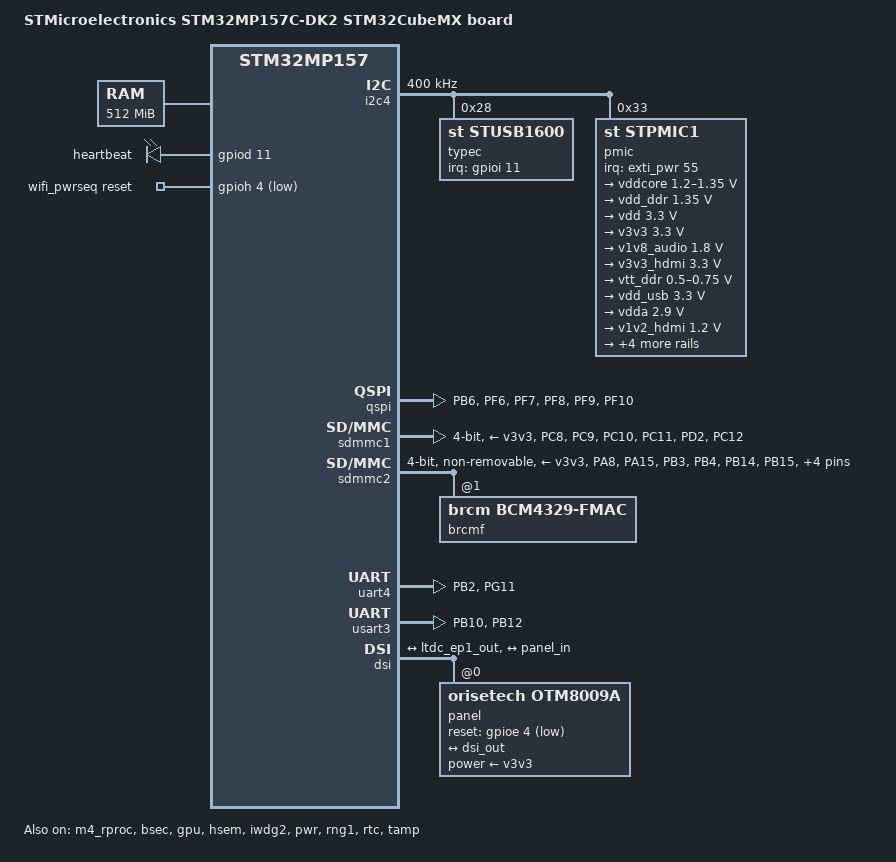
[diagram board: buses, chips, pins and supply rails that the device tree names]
/* SPDX-License-Identifier: (GPL-2.0+ OR BSD-3-Clause) */
/*
 * Copyright (C) STMicroelectronics 2020 - All Rights Reserved
 * Author: STM32CubeMX code generation for STMicroelectronics.
 */

/* For more information on Device Tree configuration, please refer to
 * https://wiki.st.com/stm32mpu/wiki/Category:Device_tree_configuration
 */

/dts-v1/;
#include "stm32mp157c.dtsi"
#include "stm32mp157cac-pinctrl.dtsi"
#include "stm32mp157c-m4-srm.dtsi"

/* USER CODE BEGIN includes */
#include <dt-bindings/input/input.h>
#include <dt-bindings/mfd/st,stpmic1.h>
#include <dt-bindings/rtc/rtc-stm32.h>
/* USER CODE END includes */

/ {
	model = "STMicroelectronics STM32MP157C-DK2 STM32CubeMX board";
	compatible = "st,stm32mp157c-osd32mp1-mx", "st,stm32mp157";

	memory@c0000000 {
		reg = <0xc0000000 0x20000000>;

		/* USER CODE BEGIN memory */
		/* USER CODE END memory */
	};

	reserved-memory {
		#address-cells = <1>;
		#size-cells = <1>;
		ranges;

		/* USER CODE BEGIN reserved-memory */

		retram: retram@0x38000000 {
			compatible = "shared-dma-pool";
			reg = <0x38000000 0x10000>;
			no-map;
		};

		mcuram: mcuram@0x30000000 {
			compatible = "shared-dma-pool";
			reg = <0x30000000 0x40000>;
			no-map;
		};

		mcuram2: mcuram2@0x10000000 {
			compatible = "shared-dma-pool";
			reg = <0x10000000 0x40000>;
			no-map;
		};

		vdev0vring0: vdev0vring0@10040000 {
			compatible = "shared-dma-pool";
			reg = <0x10040000 0x2000>;
			no-map;
		};

		vdev0vring1: vdev0vring1@10042000 {
			compatible = "shared-dma-pool";
			reg = <0x10042000 0x2000>;
			no-map;
		};

		vdev0buffer: vdev0buffer@10044000 {
			compatible = "shared-dma-pool";
			reg = <0x10044000 0x4000>;
			no-map;
		};
		/* USER CODE END reserved-memory */

		gpu_reserved: gpu@d4000000 {
			reg = <0xd4000000 0x4000000>;
			no-map;
		};
	};

	/* USER CODE BEGIN root */
	aliases {
		ethernet0 = &ethernet0;
		serial0 = &uart4;
		serial1 = &usart3;
		serial2 = &uart7;
		serial3 = &usart2;
	};

	chosen {
		stdout-path = "serial0:115200n8";
	};

	sram: sram@10050000 {
		compatible = "mmio-sram";
		reg = <0x10050000 0x10000>;
		#address-cells = <1>;
		#size-cells = <1>;
		ranges = <0 0x10050000 0x10000>;

		dma_pool: dma_pool@0 {
			reg = <0x0 0x10000>;
			pool;
		};
	};

	led {
		compatible = "gpio-leds";
		blue {
			label = "heartbeat";
			gpios = <&gpiod 11 GPIO_ACTIVE_HIGH>;
			linux,default-trigger = "heartbeat";
			default-state = "off";
		};
	};

	sound {
		compatible = "audio-graph-card";
		label = "STM32MP1-DK";
		routing =
			"Playback" , "MCLK",
			"Capture" , "MCLK",
			"MICL" , "Mic Bias";
		dais = <&sai2a_port &sai2b_port &i2s2_port>;
		status = "okay";
	};

	usb_phy_tuning: usb-phy-tuning {
		st,hs-dc-level = <2>;
		st,fs-rftime-tuning;
		st,hs-rftime-reduction;
		st,hs-current-trim = <15>;
		st,hs-impedance-trim = <1>;
		st,squelch-level = <3>;
		st,hs-rx-offset = <2>;
		st,no-lsfs-sc;
	};

	wifi_pwrseq: wifi-pwrseq {
		compatible = "mmc-pwrseq-simple";
		reset-gpios = <&gpioh 4 GPIO_ACTIVE_LOW>;
	};
	/* USER CODE END root */

	clocks {
		/* USER CODE BEGIN clocks */
		/* USER CODE END clocks */

		clk_lsi: clk-lsi {
			clock-frequency = <32000>;
		};

		clk_hsi: clk-hsi {
			clock-frequency = <64000000>;
		};

		clk_csi: clk-csi {
			clock-frequency = <4000000>;
		};

		clk_lse: clk-lse {
			clock-frequency = <32768>;
		};

		clk_hse: clk-hse {
			clock-frequency = <24000000>;
		};
	};

}; /*root*/

&pinctrl {
	u-boot,dm-pre-reloc;

	quadspi_pins_mx: quadspi_mx-0 {
		u-boot,dm-pre-reloc;
		pins1 {
			u-boot,dm-pre-reloc;
			pinmux = <STM32_PINMUX('B', 6, AF10)>, /* QUADSPI_BK1_NCS */
					 <STM32_PINMUX('F', 6, AF9)>, /* QUADSPI_BK1_IO3 */
					 <STM32_PINMUX('F', 7, AF9)>, /* QUADSPI_BK1_IO2 */
					 <STM32_PINMUX('F', 8, AF10)>, /* QUADSPI_BK1_IO0 */
					 <STM32_PINMUX('F', 9, AF10)>; /* QUADSPI_BK1_IO1 */
			bias-disable;
			drive-push-pull;
			slew-rate = <1>;
		};
		pins2 {
			u-boot,dm-pre-reloc;
			pinmux = <STM32_PINMUX('F', 10, AF9)>; /* QUADSPI_CLK */
			bias-disable;
			drive-push-pull;
			slew-rate = <2>;
		};
	};

	quadspi_sleep_pins_mx: quadspi_sleep_mx-0 {
		u-boot,dm-pre-reloc;
		pins {
			u-boot,dm-pre-reloc;
			pinmux = <STM32_PINMUX('B', 6, ANALOG)>, /* QUADSPI_BK1_NCS */
					 <STM32_PINMUX('F', 6, ANALOG)>, /* QUADSPI_BK1_IO3 */
					 <STM32_PINMUX('F', 7, ANALOG)>, /* QUADSPI_BK1_IO2 */
					 <STM32_PINMUX('F', 8, ANALOG)>, /* QUADSPI_BK1_IO0 */
					 <STM32_PINMUX('F', 9, ANALOG)>, /* QUADSPI_BK1_IO1 */
					 <STM32_PINMUX('F', 10, ANALOG)>; /* QUADSPI_CLK */
		};
	};

	sdmmc1_pins_mx: sdmmc1_mx-0 {
		u-boot,dm-pre-reloc;
		pins1 {
			u-boot,dm-pre-reloc;
			pinmux = <STM32_PINMUX('C', 8, AF12)>, /* SDMMC1_D0 */
					 <STM32_PINMUX('C', 9, AF12)>, /* SDMMC1_D1 */
					 <STM32_PINMUX('C', 10, AF12)>, /* SDMMC1_D2 */
					 <STM32_PINMUX('C', 11, AF12)>, /* SDMMC1_D3 */
					 <STM32_PINMUX('D', 2, AF12)>; /* SDMMC1_CMD */
			bias-disable;
			drive-push-pull;
			slew-rate = <1>;
		};
		pins2 {
			u-boot,dm-pre-reloc;
			pinmux = <STM32_PINMUX('C', 12, AF12)>; /* SDMMC1_CK */
			bias-disable;
			drive-push-pull;
			slew-rate = <3>;
		};
	};

	sdmmc1_opendrain_pins_mx: sdmmc1_opendrain_mx-0 {
		u-boot,dm-pre-reloc;
		pins1 {
			u-boot,dm-pre-reloc;
			pinmux = <STM32_PINMUX('C', 8, AF12)>, /* SDMMC1_D0 */
					 <STM32_PINMUX('C', 9, AF12)>, /* SDMMC1_D1 */
					 <STM32_PINMUX('C', 10, AF12)>, /* SDMMC1_D2 */
					 <STM32_PINMUX('C', 11, AF12)>; /* SDMMC1_D3 */
			bias-disable;
			drive-push-pull;
			slew-rate = <1>;
		};
		pins2 {
			u-boot,dm-pre-reloc;
			pinmux = <STM32_PINMUX('C', 12, AF12)>; /* SDMMC1_CK */
			bias-disable;
			drive-push-pull;
			slew-rate = <3>;
		};
		pins3 {
			u-boot,dm-pre-reloc;
			pinmux = <STM32_PINMUX('D', 2, AF12)>; /* SDMMC1_CMD */
			bias-disable;
			drive-open-drain;
			slew-rate = <1>;
		};
	};

	sdmmc1_sleep_pins_mx: sdmmc1_sleep_mx-0 {
		u-boot,dm-pre-reloc;
		pins {
			u-boot,dm-pre-reloc;
			pinmux = <STM32_PINMUX('C', 8, ANALOG)>, /* SDMMC1_D0 */
					 <STM32_PINMUX('C', 9, ANALOG)>, /* SDMMC1_D1 */
					 <STM32_PINMUX('C', 10, ANALOG)>, /* SDMMC1_D2 */
					 <STM32_PINMUX('C', 11, ANALOG)>, /* SDMMC1_D3 */
					 <STM32_PINMUX('C', 12, ANALOG)>, /* SDMMC1_CK */
					 <STM32_PINMUX('D', 2, ANALOG)>; /* SDMMC1_CMD */
		};
	};

	sdmmc2_pins_mx: sdmmc2_mx-0 {
		u-boot,dm-pre-reloc;
		pins1 {
			u-boot,dm-pre-reloc;
			pinmux = <STM32_PINMUX('A', 8, AF9)>, /* SDMMC2_D4 */
					 <STM32_PINMUX('A', 15, AF9)>, /* SDMMC2_D5 */
					 <STM32_PINMUX('B', 3, AF9)>, /* SDMMC2_D2 */
					 <STM32_PINMUX('B', 4, AF9)>, /* SDMMC2_D3 */
					 <STM32_PINMUX('B', 14, AF9)>, /* SDMMC2_D0 */
					 <STM32_PINMUX('B', 15, AF9)>, /* SDMMC2_D1 */
					 <STM32_PINMUX('C', 6, AF10)>, /* SDMMC2_D6 */
					 <STM32_PINMUX('C', 7, AF10)>, /* SDMMC2_D7 */
					 <STM32_PINMUX('G', 6, AF10)>; /* SDMMC2_CMD */
			bias-disable;
			drive-push-pull;
			slew-rate = <1>;
		};
		pins2 {
			u-boot,dm-pre-reloc;
			pinmux = <STM32_PINMUX('E', 3, AF9)>; /* SDMMC2_CK */
			bias-disable;
			drive-push-pull;
			slew-rate = <3>;
		};
	};

	sdmmc2_opendrain_pins_mx: sdmmc2_opendrain_mx-0 {
		u-boot,dm-pre-reloc;
		pins1 {
			u-boot,dm-pre-reloc;
			pinmux = <STM32_PINMUX('A', 8, AF9)>, /* SDMMC2_D4 */
					 <STM32_PINMUX('A', 15, AF9)>, /* SDMMC2_D5 */
					 <STM32_PINMUX('B', 3, AF9)>, /* SDMMC2_D2 */
					 <STM32_PINMUX('B', 4, AF9)>, /* SDMMC2_D3 */
					 <STM32_PINMUX('B', 14, AF9)>, /* SDMMC2_D0 */
					 <STM32_PINMUX('B', 15, AF9)>, /* SDMMC2_D1 */
					 <STM32_PINMUX('C', 6, AF10)>, /* SDMMC2_D6 */
					 <STM32_PINMUX('C', 7, AF10)>; /* SDMMC2_D7 */
			bias-disable;
			drive-push-pull;
			slew-rate = <1>;
		};
		pins2 {
			u-boot,dm-pre-reloc;
			pinmux = <STM32_PINMUX('E', 3, AF9)>; /* SDMMC2_CK */
			bias-disable;
			drive-push-pull;
			slew-rate = <3>;
		};
		pins3 {
			u-boot,dm-pre-reloc;
			pinmux = <STM32_PINMUX('G', 6, AF10)>; /* SDMMC2_CMD */
			bias-disable;
			drive-open-drain;
			slew-rate = <1>;
		};
	};

	sdmmc2_sleep_pins_mx: sdmmc2_sleep_mx-0 {
		u-boot,dm-pre-reloc;
		pins {
			u-boot,dm-pre-reloc;
			pinmux = <STM32_PINMUX('A', 8, ANALOG)>, /* SDMMC2_D4 */
					 <STM32_PINMUX('A', 15, ANALOG)>, /* SDMMC2_D5 */
					 <STM32_PINMUX('B', 3, ANALOG)>, /* SDMMC2_D2 */
					 <STM32_PINMUX('B', 4, ANALOG)>, /* SDMMC2_D3 */
					 <STM32_PINMUX('B', 14, ANALOG)>, /* SDMMC2_D0 */
					 <STM32_PINMUX('B', 15, ANALOG)>, /* SDMMC2_D1 */
					 <STM32_PINMUX('C', 6, ANALOG)>, /* SDMMC2_D6 */
					 <STM32_PINMUX('C', 7, ANALOG)>, /* SDMMC2_D7 */
					 <STM32_PINMUX('E', 3, ANALOG)>, /* SDMMC2_CK */
					 <STM32_PINMUX('G', 6, ANALOG)>; /* SDMMC2_CMD */
		};
	};

	uart4_pins_mx: uart4_mx-0 {
		u-boot,dm-pre-reloc;
		pins1 {
			u-boot,dm-pre-reloc;
			pinmux = <STM32_PINMUX('B', 2, AF8)>; /* UART4_RX */
			bias-disable;
		};
		pins2 {
			u-boot,dm-pre-reloc;
			pinmux = <STM32_PINMUX('G', 11, AF6)>; /* UART4_TX */
			bias-disable;
			drive-push-pull;
			slew-rate = <0>;
		};
	};

	uart4_sleep_pins_mx: uart4_sleep_mx-0 {
		u-boot,dm-pre-reloc;
		pins {
			u-boot,dm-pre-reloc;
			pinmux = <STM32_PINMUX('B', 2, ANALOG)>, /* UART4_RX */
					 <STM32_PINMUX('G', 11, ANALOG)>; /* UART4_TX */
		};
	};

	usart3_pins_mx: usart3_mx-0 {
		u-boot,dm-pre-reloc;
		pins1 {
			u-boot,dm-pre-reloc;
			pinmux = <STM32_PINMUX('B', 10, AF7)>; /* USART3_TX */
			bias-disable;
			drive-push-pull;
			slew-rate = <0>;
		};
		pins2 {
			u-boot,dm-pre-reloc;
			pinmux = <STM32_PINMUX('B', 12, AF8)>; /* USART3_RX */
			bias-disable;
		};
	};

	usart3_sleep_pins_mx: usart3_sleep_mx-0 {
		u-boot,dm-pre-reloc;
		pins {
			u-boot,dm-pre-reloc;
			pinmux = <STM32_PINMUX('B', 10, ANALOG)>, /* USART3_TX */
					 <STM32_PINMUX('B', 12, ANALOG)>; /* USART3_RX */
		};
	};

	/* USER CODE BEGIN pinctrl */
	/* USER CODE END pinctrl */
};

&pinctrl_z {
	u-boot,dm-pre-reloc;

	i2c4_pins_z_mx: i2c4_mx-0 {
		u-boot,dm-pre-reloc;
		pins {
			u-boot,dm-pre-reloc;
			pinmux = <STM32_PINMUX('Z', 4, AF6)>, /* I2C4_SCL */
					 <STM32_PINMUX('Z', 5, AF6)>; /* I2C4_SDA */
			bias-disable;
			drive-open-drain;
			slew-rate = <0>;
		};
	};

	i2c4_sleep_pins_z_mx: i2c4_sleep_mx-0 {
		u-boot,dm-pre-reloc;
		pins {
			u-boot,dm-pre-reloc;
			pinmux = <STM32_PINMUX('Z', 4, ANALOG)>, /* I2C4_SCL */
					 <STM32_PINMUX('Z', 5, ANALOG)>; /* I2C4_SDA */
		};
	};

	/* USER CODE BEGIN pinctrl_z */
	/* USER CODE END pinctrl_z */
};

&m4_rproc{
	/*Restriction: "memory-region" property is not managed - please to use User-Section if needed*/
	mboxes = <&ipcc 2>;
	mbox-names = "shutdown";
	recovery;
	status = "okay";

	/* USER CODE BEGIN m4_rproc */
	interrupt-parent = <&exti>;
	interrupts = <68 1>;
	interrupt-names = "wdg";
	wakeup-source;
	/* USER CODE END m4_rproc */
};

&bsec{
	status = "okay";

	/* USER CODE BEGIN bsec */
	/* USER CODE END bsec */
};

&gpu{
	status = "okay";

	/* USER CODE BEGIN gpu */
	contiguous-area = <&gpu_reserved>;
	/* USER CODE END gpu */
};

&hsem{
	status = "okay";

	/* USER CODE BEGIN hsem */
	/* USER CODE END hsem */
};

&i2c4{
	u-boot,dm-pre-reloc;
	pinctrl-names = "default", "sleep";
	pinctrl-0 = <&i2c4_pins_z_mx>;
	pinctrl-1 = <&i2c4_sleep_pins_z_mx>;
	status = "okay";

	/* USER CODE BEGIN i2c4 */
	i2c-scl-rising-time-ns = <185>;
	i2c-scl-falling-time-ns = <20>;
	clock-frequency = <400000>;
	/delete-property/dmas;
	/delete-property/dma-names;

	typec: stusb1600@28 {
		compatible = "st,stusb1600";
		reg = <0x28>;
		interrupt-parent = <&gpioi>;
		interrupts = <11 IRQ_TYPE_EDGE_FALLING>;
		pinctrl-0 = <&stusb1600_pins_a>;
		pinctrl-names = "default";
		status = "okay";

		typec_con: connector {
			compatible = "usb-c-connector";
			label = "USB-C";
			power-role = "dual";
			power-opmode = "default";
		};
	};

	pmic: stpmic@33 {
		compatible = "st,stpmic1";
		reg = <0x33>;
		interrupts-extended = <&exti_pwr 55 IRQ_TYPE_EDGE_FALLING>;
		interrupt-controller;
		#interrupt-cells = <2>;
		wakeup-source;
		status = "okay";

		regulators {
			compatible = "st,stpmic1-regulators";

			ldo1-supply = <&v3v3>;
			ldo3-supply = <&vdd_ddr>;
			ldo6-supply = <&v3v3>;
			pwr_sw1-supply = <&bst_out>;
			pwr_sw2-supply = <&bst_out>;

			vddcore: buck1 {
				regulator-name = "vddcore";
				regulator-min-microvolt = <1200000>;
				regulator-max-microvolt = <1350000>;
				regulator-always-on;
				regulator-initial-mode = <0>;
				regulator-over-current-protection;
			};

			vdd_ddr: buck2 {
				regulator-name = "vdd_ddr";
				regulator-min-microvolt = <1350000>;
				regulator-max-microvolt = <1350000>;
				regulator-always-on;
				regulator-initial-mode = <0>;
				regulator-over-current-protection;
			};

			vdd: buck3 {
				regulator-name = "vdd";
				regulator-min-microvolt = <3300000>;
				regulator-max-microvolt = <3300000>;
				regulator-always-on;
				st,mask-reset;
				regulator-initial-mode = <0>;
				regulator-over-current-protection;
			};

			v3v3: buck4 {
				regulator-name = "v3v3";
				regulator-min-microvolt = <3300000>;
				regulator-max-microvolt = <3300000>;
				regulator-always-on;
				regulator-over-current-protection;
				regulator-initial-mode = <0>;
			};

			v1v8_audio: ldo1 {
				regulator-name = "v1v8_audio";
				regulator-min-microvolt = <1800000>;
				regulator-max-microvolt = <1800000>;
				regulator-always-on;
				interrupts = <IT_CURLIM_LDO1 0>;

			};

			v3v3_hdmi: ldo2 {
				regulator-name = "v3v3_hdmi";
				regulator-min-microvolt = <3300000>;
				regulator-max-microvolt = <3300000>;
				regulator-always-on;
				interrupts = <IT_CURLIM_LDO2 0>;

			};

			vtt_ddr: ldo3 {
				regulator-name = "vtt_ddr";
				regulator-min-microvolt = <500000>;
				regulator-max-microvolt = <750000>;
				regulator-always-on;
				regulator-over-current-protection;
			};

			vdd_usb: ldo4 {
				regulator-name = "vdd_usb";
				regulator-min-microvolt = <3300000>;
				regulator-max-microvolt = <3300000>;
				interrupts = <IT_CURLIM_LDO4 0>;
			};

			vdda: ldo5 {
				regulator-name = "vdda";
				regulator-min-microvolt = <2900000>;
				regulator-max-microvolt = <2900000>;
				interrupts = <IT_CURLIM_LDO5 0>;
				regulator-boot-on;
			};

			v1v2_hdmi: ldo6 {
				regulator-name = "v1v2_hdmi";
				regulator-min-microvolt = <1200000>;
				regulator-max-microvolt = <1200000>;
				regulator-always-on;
				interrupts = <IT_CURLIM_LDO6 0>;

			};

			vref_ddr: vref_ddr {
				regulator-name = "vref_ddr";
				regulator-always-on;
				regulator-over-current-protection;
			};

			 bst_out: boost {
				regulator-name = "bst_out";
				interrupts = <IT_OCP_BOOST 0>;
			 };

			vbus_otg: pwr_sw1 {
				regulator-name = "vbus_otg";
				interrupts = <IT_OCP_OTG 0>;
			 };

			 vbus_sw: pwr_sw2 {
				regulator-name = "vbus_sw";
				interrupts = <IT_OCP_SWOUT 0>;
				regulator-active-discharge = <1>;
			 };
		};

		onkey {
			compatible = "st,stpmic1-onkey";
			interrupts = <IT_PONKEY_F 0>, <IT_PONKEY_R 0>;
			interrupt-names = "onkey-falling", "onkey-rising";
			power-off-time-sec = <10>;
			status = "okay";
		};

		watchdog {
			compatible = "st,stpmic1-wdt";
			status = "disabled";
		};
	};
	/* USER CODE END i2c4 */
};

&ipcc{
	status = "okay";

	/* USER CODE BEGIN ipcc */
	/* USER CODE END ipcc */
};

&iwdg2{
	status = "okay";

	/* USER CODE BEGIN iwdg2 */
	timeout-sec = <32>;
	/* USER CODE END iwdg2 */
};

&pwr{
	status = "okay";

	/* USER CODE BEGIN pwr */
	pwr-regulators {
		vdd-supply = <&vdd>;
		vdd_3v3_usbfs-supply = <&vdd_usb>;
	};
	/* USER CODE END pwr */
};

&qspi{
	u-boot,dm-pre-reloc;
	pinctrl-names = "default", "sleep";
	pinctrl-0 = <&quadspi_pins_mx>;
	pinctrl-1 = <&quadspi_sleep_pins_mx>;
	status = "okay";

	/* USER CODE BEGIN qspi */
	/* USER CODE END qspi */
};

&rcc{
	u-boot,dm-pre-reloc;
	status = "okay";

	/* USER CODE BEGIN rcc */
	/* USER CODE END rcc */
};

&rng1{
	status = "okay";

	/* USER CODE BEGIN rng1 */
	/* USER CODE END rng1 */
};

&rtc{
	status = "okay";

	/* USER CODE BEGIN rtc */
	st,lsco = <RTC_OUT2_RMP>;
	/* USER CODE END rtc */
};

&sdmmc1{
	u-boot,dm-pre-reloc;
	pinctrl-names = "default", "opendrain", "sleep";
	pinctrl-0 = <&sdmmc1_pins_mx>;
	pinctrl-1 = <&sdmmc1_opendrain_pins_mx>;
	pinctrl-2 = <&sdmmc1_sleep_pins_mx>;
	status = "okay";

	/* USER CODE BEGIN sdmmc1 */
	broken-cd;
	st,neg-edge;
	bus-width = <4>;
	vmmc-supply = <&v3v3>;
	/* USER CODE END sdmmc1 */
};

&sdmmc2{
	u-boot,dm-pre-reloc;
	pinctrl-names = "default", "opendrain", "sleep";
	pinctrl-0 = <&sdmmc2_pins_mx>;
	pinctrl-1 = <&sdmmc2_opendrain_pins_mx>;
	pinctrl-2 = <&sdmmc2_sleep_pins_mx>;
	status = "okay";

	/* USER CODE BEGIN sdmmc2 */
	arm,primecell-periphid = <0x10153180>;
	non-removable;
	st,neg-edge;
	bus-width = <4>;
	vmmc-supply = <&v3v3>;
	mmc-pwrseq = <&wifi_pwrseq>;
	#address-cells = <1>;
	#size-cells = <0>;
	keep-power-in-suspend;

	brcmf: bcrmf@1 {
		reg = <1>;
		compatible = "brcm,bcm4329-fmac";
	};
	/* USER CODE END sdmmc2 */
};

&tamp{
	status = "okay";

	/* USER CODE BEGIN tamp */
	/* USER CODE END tamp */
};

&uart4{
	u-boot,dm-pre-reloc;
	pinctrl-names = "default", "sleep";
	pinctrl-0 = <&uart4_pins_mx>;
	pinctrl-1 = <&uart4_sleep_pins_mx>;
	status = "okay";

	/* USER CODE BEGIN uart4 */
	/delete-property/dmas;
	/delete-property/dma-names;
	/* USER CODE END uart4 */
};

&usart3{
	u-boot,dm-pre-reloc;
	pinctrl-names = "default", "sleep";
	pinctrl-0 = <&usart3_pins_mx>;
	pinctrl-1 = <&usart3_sleep_pins_mx>;
	status = "okay";

	/* USER CODE BEGIN usart3 */
	/* USER CODE END usart3 */
};

/* USER CODE BEGIN addons */
&dsi {
	#address-cells = <1>;
	#size-cells = <0>;
	status = "okay";

	ports {
		#address-cells = <1>;
		#size-cells = <0>;

		port@0 {
			reg = <0>;
			dsi_in: endpoint {
				remote-endpoint = <&ltdc_ep1_out>;
			};
		};

		port@1 {
			reg = <1>;
			dsi_out: endpoint {
				remote-endpoint = <&panel_in>;
			};
		};
	};

	panel: panel@0 {
		compatible = "orisetech,otm8009a";
		reg = <0>;
		reset-gpios = <&gpioe 4 GPIO_ACTIVE_LOW>;
		power-supply = <&v3v3>;
		status = "okay";

		port {
			panel_in: endpoint {
				remote-endpoint = <&dsi_out>;
			};
		};
	};
};

&m4_rproc {
memory-region = <&retram>, <&mcuram>, <&mcuram2>, <&vdev0vring0>,
		<&vdev0vring1>, <&vdev0buffer>;
};

&adc {
	status = "disabled";
};

&cpu0{
	cpu-supply = <&vddcore>;
};

&cpu1{
	cpu-supply = <&vddcore>;
};

&dma1 {
	sram = <&dma_pool>;
};

&dma2 {
	sram = <&dma_pool>;
};
/* USER CODE END addons */

